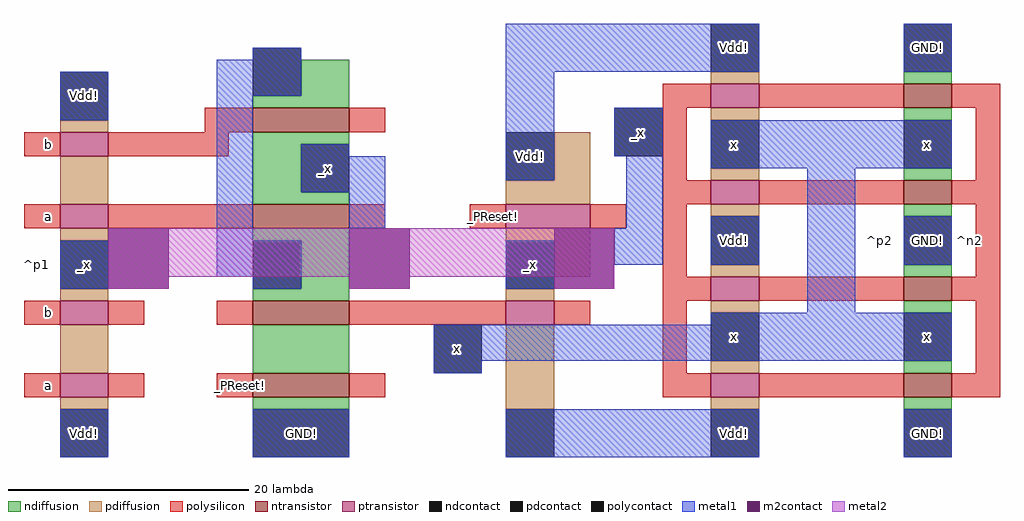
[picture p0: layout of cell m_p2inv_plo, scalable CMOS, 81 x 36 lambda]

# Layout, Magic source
magic
tech scmos
<< ndiffusion >>
rect 116 97 120 100
rect 166 98 170 99
rect 112 96 120 97
rect 112 93 120 94
rect 112 89 116 93
rect 112 88 120 89
rect 166 95 170 96
rect 166 90 170 91
rect 112 85 120 86
rect 116 81 120 85
rect 112 80 120 81
rect 166 87 170 88
rect 166 82 170 83
rect 112 74 120 78
rect 112 71 120 72
rect 166 79 170 80
rect 166 74 170 75
rect 166 71 170 72
<< pdiffusion >>
rect 150 98 154 99
rect 96 94 100 95
rect 96 88 100 92
rect 137 90 140 94
rect 133 88 140 90
rect 150 95 154 96
rect 150 90 154 91
rect 96 85 100 86
rect 96 80 100 81
rect 133 85 140 86
rect 137 82 140 85
rect 150 87 154 88
rect 150 82 154 83
rect 133 80 137 81
rect 96 74 100 78
rect 96 71 100 72
rect 133 71 137 78
rect 150 79 154 80
rect 150 74 154 75
rect 150 71 154 72
<< ntransistor >>
rect 166 96 170 98
rect 112 94 120 96
rect 166 88 170 90
rect 112 86 120 88
rect 166 80 170 82
rect 112 78 120 80
rect 112 72 120 74
rect 166 72 170 74
<< ptransistor >>
rect 150 96 154 98
rect 96 92 100 94
rect 150 88 154 90
rect 96 86 100 88
rect 133 86 140 88
rect 150 80 154 82
rect 96 78 100 80
rect 133 78 137 80
rect 96 72 100 74
rect 150 72 154 74
<< polysilicon >>
rect 146 96 150 98
rect 154 96 166 98
rect 170 96 174 98
rect 108 94 112 96
rect 120 94 123 96
rect 93 92 96 94
rect 100 92 110 94
rect 146 90 148 96
rect 172 90 174 96
rect 146 88 150 90
rect 154 88 166 90
rect 170 88 174 90
rect 93 86 96 88
rect 100 86 112 88
rect 120 86 123 88
rect 130 86 133 88
rect 140 86 143 88
rect 146 82 148 88
rect 172 82 174 88
rect 146 80 150 82
rect 154 80 166 82
rect 170 80 174 82
rect 93 78 96 80
rect 100 78 103 80
rect 109 78 112 80
rect 120 78 133 80
rect 137 78 140 80
rect 93 72 96 74
rect 100 72 103 74
rect 109 72 112 74
rect 120 72 123 74
rect 146 74 148 80
rect 172 74 174 80
rect 146 72 150 74
rect 154 72 166 74
rect 170 72 174 74
<< ndcontact >>
rect 112 97 116 101
rect 166 99 170 103
rect 116 89 120 93
rect 166 91 170 95
rect 112 81 116 85
rect 166 83 170 87
rect 112 67 120 71
rect 166 75 170 79
rect 166 67 170 71
<< pdcontact >>
rect 96 95 100 99
rect 150 99 154 103
rect 133 90 137 94
rect 150 91 154 95
rect 96 81 100 85
rect 133 81 137 85
rect 150 83 154 87
rect 96 67 100 71
rect 150 75 154 79
rect 133 67 137 71
rect 150 67 154 71
<< polycontact >>
rect 142 92 146 96
rect 127 74 131 78
<< metal1 >>
rect 112 100 116 101
rect 96 95 100 99
rect 109 97 116 100
rect 133 99 154 103
rect 166 99 170 103
rect 96 81 100 85
rect 109 85 112 97
rect 116 92 120 93
rect 116 89 123 92
rect 133 90 137 99
rect 142 92 146 96
rect 120 86 123 89
rect 143 86 146 92
rect 150 91 170 95
rect 109 82 116 85
rect 112 81 116 82
rect 133 81 137 85
rect 142 83 146 86
rect 150 83 154 87
rect 158 79 162 91
rect 166 83 170 87
rect 150 78 170 79
rect 127 75 170 78
rect 127 74 131 75
rect 96 67 100 71
rect 112 67 120 71
rect 133 67 154 71
rect 166 67 170 71
<< m2contact >>
rect 100 81 105 86
rect 120 81 125 86
rect 137 81 142 86
<< metal2 >>
rect 100 82 142 86
rect 100 81 105 82
rect 120 81 125 82
rect 137 81 142 82
<< labels >>
rlabel space 169 66 174 104 3 ^n2
rlabel space 153 65 175 105 3 ^p2
rlabel polysilicon 132 87 132 87 1 _PReset!
rlabel polysilicon 95 93 95 93 3 b
rlabel polysilicon 95 87 95 87 3 a
rlabel polysilicon 95 79 95 79 3 b
rlabel polysilicon 95 73 95 73 3 a
rlabel polysilicon 111 73 111 73 1 _PReset!
rlabel space 92 67 96 99 7 ^p1
rlabel pdcontact 152 101 152 101 5 Vdd!
rlabel pdcontact 152 93 152 93 1 x
rlabel pdcontact 152 85 152 85 5 Vdd!
rlabel pdcontact 152 77 152 77 1 x
rlabel pdcontact 152 69 152 69 1 Vdd!
rlabel ndcontact 168 93 168 93 1 x
rlabel ndcontact 168 101 168 101 5 GND!
rlabel ndcontact 168 77 168 77 1 x
rlabel ndcontact 168 85 168 85 5 GND!
rlabel ndcontact 168 69 168 69 1 GND!
rlabel pdcontact 135 92 135 92 1 Vdd!
rlabel pdcontact 98 69 98 69 1 Vdd!
rlabel pdcontact 98 83 98 83 1 _x
rlabel pdcontact 98 97 98 97 5 Vdd!
rlabel ndcontact 116 69 116 69 1 GND!
rlabel pdcontact 135 83 135 83 6 _x
rlabel ndcontact 118 91 118 91 5 _x
rlabel polycontact 129 76 129 76 1 x
rlabel polycontact 144 94 144 94 5 _x
<< end >>
